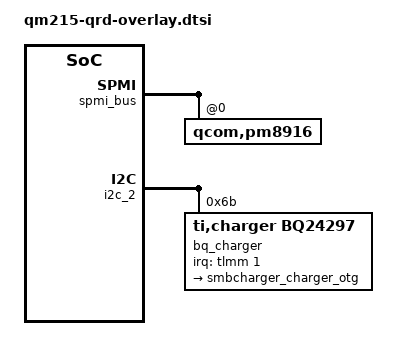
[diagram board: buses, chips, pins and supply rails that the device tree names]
&spmi_bus {
	qcom,pm8916@0 {
		qcom,charger {
			status = "disabled";
		};
	};
};

&tlmm {
	pmx_charger_pin_default {
		int_pin_default: int_pin_default {
			mux {
				pins = "gpio1";
				function = "gpio";
			};

			config {
				pins = "gpio1";
				drive-strength = <2>;
				bias-disable;
				input-enable;
			};
		};
	};
};

&qrd_batterydata {
	#include "zte-batterydata-1200mAh.dtsi"
};

&usb_otg {
	qcom,hsusb-otg-mode = <1>;
	extcon = <&bq_charger>;
};

&i2c_2 {
	bq_charger: bq24297-charger@6b {
		compatible = "ti,charger,bq24297";
		status = "ok";
		reg = <0x6b>;
		interrupt-parent = <&tlmm>;
		interrupts = <1 0x0>;

		pinctrl-names = "default";
		pinctrl-0 = <&int_pin_default>;

		/* ti,irq-gpio = <&tlmm 63 0x00>; */

		ti,bq2429x,usb-vlim = <4520>;
		ti,bq2429x,usb-ilim = <512>;
		ti,bq2429x,usb-float-voltage-mv = <4400>;
		ti,bq2429x,usb-ichg = <512>;

		ti,bq2429x,cdp-vlim = <4520>;
		ti,bq2429x,cdp-ilim = <1500>;
		ti,bq2429x,cdp-ichg = <1216>;
		ti,bq2429x,cdp-float-voltage-mv = <4352>;

		ti,bq2429x,ta-vlim = <4520>;
		ti,bq2429x,ta-ilim = <2000>;
		ti,bq2429x,ta-ichg = <2048>;
		ti,bq2429x,ta-float-voltage-mv = <4400>;

		ti,recharge-mv = <300>;

		ti,bq2429x,software-jeita-supported;
		ti,bq2429x,jeita-hot-degc = <550>;
		ti,bq2429x,jeita-warm-degc = <450>;
		ti,bq2429x,jeita-cool-degc = <150>;
		ti,bq2429x,jeita-cold-degc = <0>;
		ti,bq2429x,jeita-cool-ma = <600>;
		ti,bq2429x,jeita-cool-mv = <4400>;
		ti,bq2429x,jeita-warm-ma = <600>;
		ti,bq2429x,jeita-warm-mv = <4100>;
		ti,bq2429x,jeita-cold-hysteresis = <20>;
		ti,bq2429x,jeita-hot-hysteresis = <20>;
		ti,bq2429x,thermal-mitigation = <2048 1408 1024 640>;

		ti,bq2429x,precharge-current = <384>;
		ti,bq2429x,termination-current = <128>;
		ti,bq2429x,boost-volt = <4998>;
		ti,bq2429x,boost-current = <1000>;
		/* ti,bq2429x,enable_term; */

		/* ----------fot ti bq25601 compatible---------- */
		/* ti,charge_enable-gpio = <&tlmm 8 0x00>; */
		/* light add note:*/
		/* ichg:battery charging current */
		/* vreg:battery float voltage */
		/* ilim:charging input current */
		/* vlim:input voltage */

		ti,bq2560x,usb-vlim = <4520>;
		ti,bq2560x,usb-ilim = <500>;
		ti,bq2560x,usb-vreg = <4400>;
		ti,bq2560x,usb-ichg = <500>;

		ti,bq2560x,cdp-vlim = <4520>;
		ti,bq2560x,cdp-ilim = <1000>;
		ti,bq2560x,cdp-vreg = <4400>;
		ti,bq2560x,cdp-ichg = <1500>;

		ti,bq2560x,ta-vlim = <4520>;
		ti,bq2560x,ta-ilim = <1000>;
		ti,bq2560x,ta-vreg = <4400>;
		ti,bq2560x,ta-ichg = <1500>;

		ti,bq2560x,precharge-current = <384>;
		ti,bq2560x,termination-current = <128>;
		ti,bq2560x,boost-voltage = <4998>;
		ti,bq2560x,boost-current = <1200>;

		ti,bq2560x,stat-pin-ctrl = <0>;
		ti,bq2560x,vac-ovp-threshold = <6200>;

		ti,bq2560x,jeita-hot-degc = <550>;
		ti,bq2560x,jeita-warm-degc = <450>;
		ti,bq2560x,jeita-cool-degc = <100>;
		ti,bq2560x,jeita-cooler-degc = <50>;
		ti,bq2560x,jeita-cold-degc = <10>;

		ti,bq2560x,jeita-hot-hysteresis = <20>;
		ti,bq2560x,jeita-cold-hysteresis = <20>;

		ti,bq2560x,jeita-cooler-ma = <300>;
		ti,bq2560x,jeita-cool-ma = <900>;
		ti,bq2560x,jeita-cool-mv = <4400>;
		ti,bq2560x,jeita-warm-ma = <1000>;
		ti,bq2560x,jeita-warm-mv = <4100>;

		ti,bq2560x,recharge-mv = <100>;

		ti,bq2560x,enable_term;
		/*ti,bq2560x,enable_soc_term_charge;*/
		ti,bq2560x,software-jeita-supported;
		ti,bq2560x,thermal-mitigation = <1500 1000 700 500>;
		smbcharger_charger_otg: qcom,smb358-boost-otg {
				regulator-name = "smb358_charger_otg";
		};
	};
};
#include "dsi-panel-zte-lead-hx83112a-jdi-720p-video.dtsi"
#include "dsi-panel-zte-lcetron-hx83104a-inn-720p-video.dtsi"
&mdss_dsi0 {
	qcom,regulator-ldo-mode;
	qcom,dsi-pref-prim-pan = <&dsi_lcetron_hx83104a_inn_720p_video>;
	zte,disp_iovdd_en_gpio = <&tlmm 68 0>;
	zte,disp_vsp_en_gpio = <&tlmm 98 0>;
	zte,disp_vsn_en_gpio = <&tlmm 99 0>;

};


